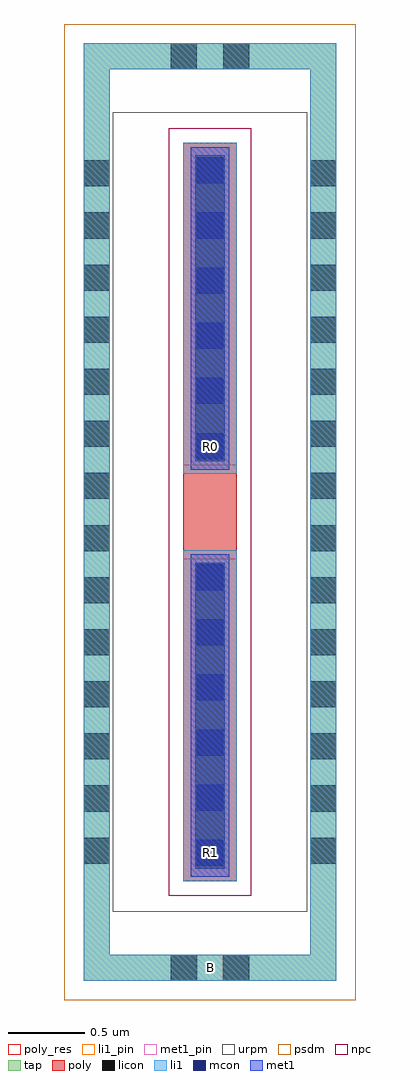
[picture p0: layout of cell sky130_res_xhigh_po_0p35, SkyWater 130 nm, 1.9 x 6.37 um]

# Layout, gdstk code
import gdstk
lib = gdstk.Library(unit=1e-6, precision=1e-09)
def R(c, l, rs):  # rectangles x0, y0, x1, y1
    for r in rs: c.add(gdstk.rectangle(r[:2], r[2:], *l))
def A(c, l, x, y, w, h, nx, ny, dx, dy):  # array of equal rectangles
    R(c, l, [(x+i*dx, y+j*dy, x+i*dx+w, y+j*dy+h) for i in range(nx) for j in range(ny)])
tap = (65, 44)
poly_res = (66, 13)
poly = (66, 20)
licon = (66, 44)
li1_pin = (67, 16)
li1 = (67, 20)
mcon = (67, 44)
met1_pin = (68, 16)
met1 = (68, 20)
urpm = (79, 20)
psdm = (94, 20)
npc = (95, 20)

res_poly = lib.new_cell('res_poly')
R(res_poly, tap, [(-0.825,-3.06,0.825,-2.89), (-0.825,-2.89,-0.655,2.89), (0.655,-2.89,0.825,2.89), (-0.825,2.89,0.825,3.06)])
R(res_poly, poly_res, [(-0.175,-0.31,0.175,0.31)])
R(res_poly, poly, [(-0.175,-2.41,0.175,2.41)])
A(res_poly, licon, -0.825, -2.295, 0.17, 0.17, 1, 14, 0, 0.34)
A(res_poly, licon, 0.655, -2.295, 0.17, 0.17, 1, 14, 0, 0.34)
R(res_poly, licon, [(-0.255,-3.06,-0.085,-2.89), (0.085,-3.06,0.255,-2.89), (-0.095,-2.33,0.095,-0.33), (-0.095,0.33,0.095,2.33), (-0.255,2.89,-0.085,3.06), (0.085,2.89,0.255,3.06)])
R(res_poly, li1, [(-0.825,-3.06,0.825,-2.89), (-0.825,-2.89,-0.655,2.89), (0.655,-2.89,0.825,2.89), (-0.175,-2.41,0.175,-0.25), (-0.175,0.25,0.175,2.41), (-0.825,2.89,0.825,3.06)])
A(res_poly, mcon, -0.085, -2.31, 0.17, 0.17, 1, 6, 0, 0.36)
A(res_poly, mcon, -0.085, 0.345, 0.17, 0.17, 1, 6, 0, 0.36)
R(res_poly, met1, [(-0.125,-2.38,0.125,-0.275), (-0.125,0.275,0.125,2.38)])
R(res_poly, urpm, [(-0.635,-2.61,0.635,2.61)])
R(res_poly, psdm, [(-0.95,-3.185,0.95,3.185)])
R(res_poly, npc, [(-0.27,-2.505,0.27,2.505)])

sky130_res_xhigh_po_0p35 = lib.new_cell('sky130_res_xhigh_po_0p35')
R(sky130_res_xhigh_po_0p35, li1_pin, [(-0.085,-3.06,0.085,-2.89)])
R(sky130_res_xhigh_po_0p35, met1_pin, [(-0.085,-2.31,0.085,-2.14), (-0.085,0.345,0.085,0.515)])
sky130_res_xhigh_po_0p35.add(gdstk.Reference(res_poly, (0,0)))
sky130_res_xhigh_po_0p35.add(gdstk.Label('R0', (0,0.43), layer=68, texttype=5))
sky130_res_xhigh_po_0p35.add(gdstk.Label('R1', (0,-2.225), layer=68, texttype=5))
sky130_res_xhigh_po_0p35.add(gdstk.Label('B', (0,-2.975), layer=67, texttype=5))

lib.write_gds('sky130_res_xhigh_po_0p35.gds')
